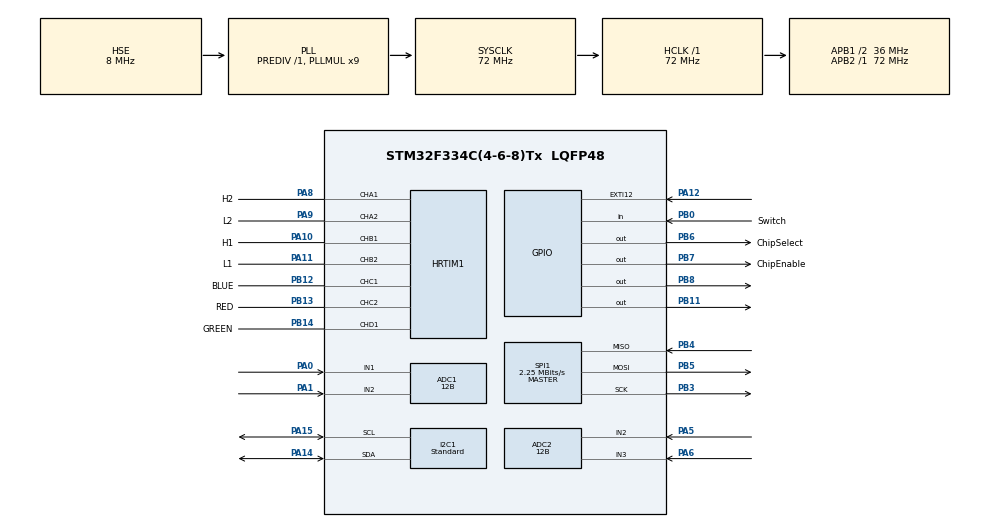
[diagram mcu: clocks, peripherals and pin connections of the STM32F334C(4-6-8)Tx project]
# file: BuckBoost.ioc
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ADC1.Channel-3\#ChannelRegularConversion=ADC_CHANNEL_1
ADC1.Channel-4\#ChannelRegularConversion=ADC_CHANNEL_2
ADC1.ClockPrescaler=ADC_CLOCK_SYNC_PCLK_DIV4
ADC1.DMAContinuousRequests=ENABLE
ADC1.EOCSelection=ADC_EOC_SEQ_CONV
ADC1.EnableInjectedConversion=DISABLE
ADC1.EnableRegularConversion=ENABLE
ADC1.ExternalTrigConv=ADC_EXTERNALTRIGCONVHRTIM_TRG1
ADC1.ExternalTrigConvEdge=ADC_EXTERNALTRIGCONVEDGE_RISING
ADC1.Mode=ADC_DUALMODE_REGSIMULT
ADC1.NbrOfConversion=2
ADC1.NbrOfConversionFlag=1
ADC1.Offset-3\#ChannelRegularConversion=0
ADC1.Offset-4\#ChannelRegularConversion=0
ADC1.OffsetNumber-3\#ChannelRegularConversion=ADC_OFFSET_NONE
ADC1.OffsetNumber-4\#ChannelRegularConversion=ADC_OFFSET_NONE
ADC1.Rank-3\#ChannelRegularConversion=1
ADC1.Rank-4\#ChannelRegularConversion=2
ADC1.Resolution=ADC_RESOLUTION_12B
ADC1.SamplingTime-3\#ChannelRegularConversion=ADC_SAMPLETIME_601CYCLES_5
ADC1.SamplingTime-4\#ChannelRegularConversion=ADC_SAMPLETIME_601CYCLES_5
ADC1.SubFamily=STM32F334x8
ADC1.TwoSamplingDelay=ADC_TWOSAMPLINGDELAY_1CYCLE
ADC1.master=1
ADC2.Channel-6\#ChannelRegularConversion=ADC_CHANNEL_2
ADC2.Channel-7\#ChannelRegularConversion=ADC_CHANNEL_3
ADC2.ClockPrescaler=ADC_CLOCK_SYNC_PCLK_DIV4
ADC2.EOCSelection=ADC_EOC_SEQ_CONV
ADC2.EnableInjectedConversion=DISABLE
ADC2.EnableRegularConversion=ENABLE
ADC2.Mode=ADC_DUALMODE_REGSIMULT
ADC2.NbrOfConversion=2
ADC2.NbrOfConversionFlag=1
ADC2.Offset-6\#ChannelRegularConversion=0
ADC2.Offset-7\#ChannelRegularConversion=0
ADC2.OffsetNumber-6\#ChannelRegularConversion=ADC_OFFSET_NONE
ADC2.OffsetNumber-7\#ChannelRegularConversion=ADC_OFFSET_NONE
ADC2.Rank-6\#ChannelRegularConversion=1
ADC2.Rank-7\#ChannelRegularConversion=2
ADC2.Resolution=ADC_RESOLUTION_12B
ADC2.SamplingTime-6\#ChannelRegularConversion=ADC_SAMPLETIME_601CYCLES_5
ADC2.SamplingTime-7\#ChannelRegularConversion=ADC_SAMPLETIME_601CYCLES_5
ADC2.SubFamily=STM32F334x8
Dma.ADC1.0.Direction=DMA_PERIPH_TO_MEMORY
Dma.ADC1.0.Instance=DMA1_Channel1
Dma.ADC1.0.MemDataAlignment=DMA_MDATAALIGN_WORD
Dma.ADC1.0.MemInc=DMA_MINC_ENABLE
Dma.ADC1.0.Mode=DMA_CIRCULAR
Dma.ADC1.0.PeriphDataAlignment=DMA_PDATAALIGN_WORD
Dma.ADC1.0.PeriphInc=DMA_PINC_DISABLE
Dma.ADC1.0.Priority=DMA_PRIORITY_LOW
Dma.Request0=ADC1
HRTIM1.ADCTrigger1_Source1=HRTIM_ADCTRIGGEREVENT13_TIMERD_CMP2
HRTIM1.ADCTrigger_Id1=HRTIM_ADCTRIGGER_1
HRTIM1.BurstDMAconfig-Output_TA1TA2=__NULL
HRTIM1.CompareUnit1-Output_TA1TA2=HRTIM_COMPAREUNIT_1
HRTIM1.CompareUnit1-Output_TB1TB2=HRTIM_COMPAREUNIT_1
HRTIM1.CompareUnit1-Output_TC1TC2=HRTIM_COMPAREUNIT_1
HRTIM1.CompareUnit1-Output_TD1=HRTIM_COMPAREUNIT_1
HRTIM1.CompareUnit2-Output_TA1TA2=__NULL
HRTIM1.CompareUnit2-Output_TB1TB2=__NULL
HRTIM1.CompareUnit2-Output_TC1TC2=HRTIM_COMPAREUNIT_2
HRTIM1.CompareUnit2-Output_TD1=HRTIM_COMPAREUNIT_2
HRTIM1.CompareValue1-Output_TA1TA2=6825
HRTIM1.CompareValue1-Output_TB1TB2=1000
HRTIM1.CompareValue1-Output_TC1TC2=10000
HRTIM1.CompareValue1-Output_TD1=15000
HRTIM1.CompareValue2-Output_TC1TC2=5000
HRTIM1.CompareValue2-Output_TD1=3
HRTIM1.Configuration_TA=Waveform
HRTIM1.DeadTimeInsertion-Output_TA1TA2=HRTIM_TIMDEADTIMEINSERTION_ENABLED
HRTIM1.DeadTimeInsertion-Output_TB1TB2=HRTIM_TIMDEADTIMEINSERTION_ENABLED
HRTIM1.FallingSign-Output_TA1TA2=HRTIM_TIMDEADTIME_FALLINGSIGN_POSITIVE
HRTIM1.FallingValue-Output_TA1TA2=200
HRTIM1.FallingValue-Output_TB1TB2=200
HRTIM1.NumberADCTriggerSource1=1
HRTIM1.NumberResetSource1-Output_TA1TA2=1
HRTIM1.NumberResetSource1-Output_TB1TB2=1
HRTIM1.NumberResetSource1-Output_TC1TC2=1
HRTIM1.NumberResetSource1-Output_TD1=1
HRTIM1.NumberResetSource2_TC=1
HRTIM1.NumberSetSource1-Output_TA1TA2=1
HRTIM1.NumberSetSource1-Output_TB1TB2=1
HRTIM1.NumberSetSource1-Output_TC1TC2=1
HRTIM1.NumberSetSource1-Output_TD1=1
HRTIM1.NumberSetSource2_TC=1
HRTIM1.Periode_TA=15360
HRTIM1.Periode_TB=15360
HRTIM1.Periode_TC=36000
HRTIM1.Periode_TD=36000
HRTIM1.Polarity1-Output_TA1TA2=HRTIM_OUTPUTPOLARITY_HIGH
HRTIM1.Polarity2-Output_TA1TA2=HRTIM_OUTPUTPOLARITY_HIGH
HRTIM1.PrescalerRatio_TC=HRTIM_PRESCALERRATIO_DIV4
HRTIM1.PrescalerRatio_TD=HRTIM_PRESCALERRATIO_DIV4
HRTIM1.ResetOutput1_Source1-Output_TA1TA2=HRTIM_OUTPUTRESET_TIMPER
HRTIM1.ResetOutput1_Source1-Output_TB1TB2=HRTIM_OUTPUTRESET_TIMCMP1
HRTIM1.ResetOutput1_Source1-Output_TC1TC2=HRTIM_OUTPUTRESET_TIMCMP1
HRTIM1.ResetOutput1_Source1-Output_TD1=HRTIM_OUTPUTRESET_TIMCMP1
HRTIM1.ResetOutput2_Source1-Output_TC1TC2=HRTIM_OUTPUTRESET_TIMCMP2
HRTIM1.RisingSign-Output_TA1TA2=HRTIM_TIMDEADTIME_RISINGSIGN_POSITIVE
HRTIM1.RisingValue-Output_TA1TA2=200
HRTIM1.RisingValue-Output_TB1TB2=200
HRTIM1.SetOutput1_Source1-Output_TA1TA2=HRTIM_OUTPUTSET_TIMCMP1
HRTIM1.SetOutput1_Source1-Output_TB1TB2=HRTIM_OUTPUTSET_TIMPER
HRTIM1.SetOutput1_Source1-Output_TC1TC2=HRTIM_OUTPUTSET_TIMPER
HRTIM1.SetOutput1_Source1-Output_TD1=HRTIM_OUTPUTSET_TIMPER
HRTIM1.SetOutput2_Source1-Output_TC1TC2=HRTIM_OUTPUTSET_TIMPER
I2C1.Analog_Filter=I2C_ANALOGFILTER_ENABLE
I2C1.DualAddressMode=I2C_DUALADDRESS_DISABLE
I2C1.I2C_Coeff_DF=15
I2C1.I2C_Fall_Time=1
I2C1.I2C_Rise_Time=1
I2C1.I2C_Speed_Mode=I2C_Standard
I2C1.Speed=100
I2C1.Timing=0x00200E1D
IWDG.Prescaler=IWDG_PRESCALER_256
IWDG.Reload=150
IWDG.Window=0
Mcu.Family=STM32F3
Mcu.Name=STM32F334C(4-6-8)Tx
Mcu.Package=LQFP48
NVIC.DMA1_Channel1_IRQn=true\:2\:0\:true\:false\:true\:false\:true\:true
NVIC.EXTI15_10_IRQn=true\:6\:0\:true\:false\:true\:true\:true\:true
NVIC.PriorityGroup=NVIC_PRIORITYGROUP_4
PA0.Mode=IN1-Single-Ended
PA0.Signal=ADC1_IN1
PA1.Mode=IN2-Single-Ended
PA1.Signal=ADC1_IN2
PA10.GPIO_Label=H1
PA10.Mode=Output_TB1TB2
PA10.Signal=HRTIM1_CHB1
PA11.GPIO_Label=L1
PA11.Mode=Output_TB1TB2
PA11.Signal=HRTIM1_CHB2
PA12.Signal=GPXTI12
PA14.Mode=I2C
PA14.Signal=I2C1_SDA
PA15.Mode=I2C
PA15.Signal=I2C1_SCL
PA5.Mode=IN2-Single-Ended
PA5.Signal=ADC2_IN2
PA6.Mode=IN3-Single-Ended
PA6.Signal=ADC2_IN3
PA8.GPIO_Label=H2
PA8.Mode=Output_TA1TA2
PA8.Signal=HRTIM1_CHA1
PA9.GPIO_Label=L2
PA9.Mode=Output_TA1TA2
PA9.Signal=HRTIM1_CHA2
PB0.GPIO_Label=Switch
PB0.Signal=GPIO_Input
PB11.Signal=GPIO_Output
PB12.GPIO_Label=BLUE
PB12.Mode=Output_TC1TC2
PB12.Signal=HRTIM1_CHC1
PB13.GPIO_Label=RED
PB13.Mode=Output_TC1TC2
PB13.Signal=HRTIM1_CHC2
PB14.GPIO_Label=GREEN
PB14.Mode=Output_TD1
PB14.Signal=HRTIM1_CHD1
PB3.Mode=Full_Duplex_Master
PB3.Signal=SPI1_SCK
PB4.Mode=Full_Duplex_Master
PB4.Signal=SPI1_MISO
PB5.Mode=Full_Duplex_Master
PB5.Signal=SPI1_MOSI
PB6.GPIO_Label=ChipSelect
PB6.Signal=GPIO_Output
PB7.GPIO_Label=ChipEnable
PB7.Signal=GPIO_Output
PB8.Signal=GPIO_Output
PF0\ /\ OSC_IN.Mode=HSE-External-Oscillator
PF0\ /\ OSC_IN.Signal=RCC_OSC_IN
PF1\ /\ OSC_OUT.Mode=HSE-External-Oscillator
PF1\ /\ OSC_OUT.Signal=RCC_OSC_OUT
ProjectManager.HeapSize=0x200
ProjectManager.StackSize=0x400
ProjectManager.TargetToolchain=MDK-ARM V5
RCC.AHBFreq_Value=72000000
RCC.APB1CLKDivider=RCC_HCLK_DIV2
RCC.APB1Freq_Value=36000000
RCC.APB1TimFreq_Value=72000000
RCC.APB2Freq_Value=72000000
RCC.APB2TimFreq_Value=72000000
RCC.CortexFreq_Value=72000000
RCC.EnbaleCSS=true
RCC.HCLKFreq_Value=72000000
RCC.HRTIMSelection=RCC_HRTIM1CLK_PLLCLK
RCC.HSE_VALUE=8000000
RCC.HSI_VALUE=8000000
RCC.LSE_VALUE=32768
RCC.PLLMUL=RCC_PLL_MUL9
RCC.PLLSourceVirtual=RCC_PLLSOURCE_HSE
RCC.SYSCLKFreq_VALUE=72000000
RCC.SYSCLKSourceVirtual=RCC_SYSCLKSOURCE_PLLCLK
SPI1.BaudRatePrescaler=SPI_BAUDRATEPRESCALER_32
SPI1.CalculateBaudRate=2.25 MBits/s
SPI1.DataSize=SPI_DATASIZE_8BIT
SPI1.Direction=SPI_DIRECTION_2LINES
SPI1.Mode=SPI_MODE_MASTER
SPI1.VirtualType=VM_MASTER
VP_IWDG_VS_IWDG.Mode=IWDG_Activate
board=custom

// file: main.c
/* USER CODE BEGIN Header */
/**
 ******************************************************************************
 * @file           : main.c
 * @brief          : Main program body
 ******************************************************************************
 * @attention
 *
 * <h2><center>&copy; Copyright (c) 2020 STMicroelectronics.
 * All rights reserved.</center></h2>
 *
 * This software component is licensed by ST under BSD 3-Clause license,
 * the "License"; You may not use this file except in compliance with the
 * License. You may obtain a copy of the License at:
 *                        opensource.org/licenses/BSD-3-Clause
 *
 ******************************************************************************
 */
/* USER CODE END Header */
#include "main.h"

/* USER CODE BEGIN Includes */
#include <stdio.h>
#include <string.h>

#include "MY_NRF24.h"
#include "ssd1306.h"
#include "test.h"

/* USER CODE END Includes */

ADC_HandleTypeDef hadc1;
ADC_HandleTypeDef hadc2;
DMA_HandleTypeDef hdma_adc1;

HRTIM_HandleTypeDef hhrtim1;

I2C_HandleTypeDef hi2c1;

IWDG_HandleTypeDef hiwdg;

SPI_HandleTypeDef hspi1;

/* USER CODE BEGIN PV */
void converterFail(void);
void idle(void);
void startCharging(void);
void startDischarging(void);

volatile float FILTEREDVOUT;
volatile float balancerVOUT;
volatile float FILTEREDVIN;
volatile float FILTEREDCURRENT;
volatile float balancerCURRENT;

volatile float maxCurrent = 0.1;
volatile float maxVoltage = 16.8;
volatile float maxTemperature = 105;
volatile float maxVin = 32.0;
volatile float minVin = 19.0;
volatile float maxVout = 18.0;
volatile float currentTemperature = 0;

volatile uint16_t adc_value[16] = {0};

volatile float powerMeasurement = 0;
volatile long long timeCounter = 0;
volatile int statusMeasurement = 0;
int stuckCounter = 0;

uint64_t TxpipeAddrs = 0xFFFFFFFF01;
char myTxData[32] = "0xFFFFFFFF01";

HAL_StatusTypeDef result;
volatile int i2cMessageCounter = -1;
volatile int i2cFailedMessageCounter = 0;
volatile int displayResetCounter = 0;

volatile int setCharge = 30;
volatile int chargerNumber = 1;
volatile uint32_t setAlarmMessage = 0;
volatile uint32_t setFaultMessage = 0;

uint8_t i2cBufferSend[14] = {0, 6, 8, 9, 10, 13, 14, 16, 17, 22, 24, 26, 20, 21};
uint8_t i2cBufferStart[3] = {42, 1, 0};
uint8_t i2cBufferStop[3] = {42, 0, 0};
uint8_t i2cBufferReceive[56] = {0};

volatile uint8_t check;
volatile uint8_t data[10];
volatile uint8_t data1[10] = {0, 1, 2, 3, 4, 5, 6, 7, 8, 9};
volatile long temp = 0;
char displayString[50] = "";
volatile int statusMessage = 0;

volatile int controlState = CHARGE;

/* USER CODE END PV */

void SystemClock_Config(void);
static void MX_GPIO_Init(void);
static void MX_DMA_Init(void);
static void MX_ADC1_Init(void);
static void MX_ADC2_Init(void);
static void MX_HRTIM1_Init(void);
static void MX_I2C1_Init(void);
static void MX_SPI1_Init(void);
static void MX_IWDG_Init(void);
/* USER CODE BEGIN PFP */
/* Direct printf to output somewhere */
/* USER CODE END PFP */

int main(void) {

    /* MCU Configuration--------------------------------------------------------*/

    /* Reset of all peripherals, Initializes the Flash interface and the Systick. */
    HAL_Init();

    /* Configure the system clock */
    SystemClock_Config();

    /* Initialize all configured peripherals */
    MX_GPIO_Init();
    MX_DMA_Init();
    MX_ADC1_Init();
    MX_ADC2_Init();
    MX_HRTIM1_Init();
    MX_I2C1_Init();
    MX_SPI1_Init();
    MX_IWDG_Init();
    /* USER CODE BEGIN 2 */
    // H1 off, L1 on
    SMALLBATTERY = REALMAXDUTY;

    // H2 off, L2 on
    BIGBATTERY = 0;

    // L1 L2 on
    HAL_HRTIM_WaveformOutputStart(&hhrtim1, L2 | L1);

    // Start-Up Delay
    HAL_Delay(10);

    // initialize OLED screen
    SSD1306_Init();  // initialize the diaply

    // activate CURRENT OFFSET
    HAL_GPIO_WritePin(GPIOB, GPIO_PIN_11, GPIO_PIN_SET);

    // start dual simultaneous ADC sampling
    HAL_ADC_Start(&hadc2);
    HAL_ADCEx_MultiModeStart_DMA(&hadc1, (uint32_t *)adc_value, 8);

    // initialize all LED
    HAL_HRTIM_WaveformOutputStart(&hhrtim1, HRTIM_OUTPUT_TC1 | HRTIM_OUTPUT_TC2 | HRTIM_OUTPUT_TD1);
    HAL_HRTIM_WaveformCountStart(
        &hhrtim1, HRTIM_TIMERID_TIMER_A | HRTIM_TIMERID_TIMER_B | HRTIM_TIMERID_TIMER_C | HRTIM_TIMERID_TIMER_D);

    // NRF24_begin(GPIOB, ChipSelect_Pin, ChipEnable_Pin, hspi1);
    // nrf24_DebugUART_Init(huart2);

    // NRF24_stopListening();
    // NRF24_openWritingPipe(TxpipeAddrs);
    // NRF24_setAutoAck(true);
    // NRF24_setChannel(125);
    // NRF24_setPayloadSize(32);

    // Start-Up Delay
    // HAL_Delay(10);

    /* USER CODE END 2 */

    /* Infinite loop */
    /* USER CODE BEGIN WHILE */
    while (1) {
        // reset WTD
        HAL_IWDG_Refresh(&hiwdg);

        // change setCharge depending on Switch state
        (HAL_GPIO_ReadPin(GPIOB, GPIO_PIN_0)) ? (setCharge = 30) : (setCharge = 99);

        /*if (RFMessageDelayCounter > 500) {
            sprintf(myTxData, "%2d %5.2f %5.2f %5.2f %3d", chargerNumber, FILTEREDVIN, FILTEREDVOUT, FILTEREDCURRENT,
        CURRENTCHARGE); if (!NRF24_write(myTxData, 32)) { statusMessage = 1;  //RF
            }
            RFMessageDelayCounter = 0;
            displayResetCounter++;
        }*/

        if (displayResetCounter > 10000) {
            // Reset Display
            SSD1306_Init();
            displayResetCounter = 0;
        }

        i2cMessageCounter >= 13 ? i2cMessageCounter = 0 : i2cMessageCounter++;

        while (HAL_I2C_GetState(&hi2c1) != HAL_I2C_STATE_READY) {
        }
        if (HAL_I2C_Master_Transmit(&hi2c1, BATTERY_ADDRESS, i2cBufferSend + i2cMessageCounter, 1, 100) != HAL_OK) {
            // reset I2C BUS
            I2C1->CR1 |= I2C_CR1_SWRST;
            statusMessage = 2;  // TX
            i2cMessageCounter = -1;
            i2cFailedMessageCounter++;
        } else {
            // Read 2 bytes
            while (HAL_I2C_GetState(&hi2c1) != HAL_I2C_STATE_READY) {
            }
            if (HAL_I2C_Master_Receive(&hi2c1, BATTERY_ADDRESS, i2cBufferReceive + i2cMessageCounter * 2, 2, 100) !=
                HAL_OK) {
                // reset I2C BUS
                I2C1->CR1 |= I2C_CR1_SWRST;
                statusMessage = 3;  // RX
                i2cMessageCounter = -1;
                i2cFailedMessageCounter++;
            } else {
                // detect offSet Failure
                if (controlState == IDLE && FILTEREDCURRENT < -1.5)
                    while (1) converterFail();

                if (setCharge == 99) {
                    if (CURRENTCHARGE < setCharge && currentTemperature < SETTEMPERATURE && setAlarmMessage < 32768) {
                        startCharging();
                    } else {
                        idle();
                    }
                } else if (setCharge == 30) {
                    if (currentTemperature < SETTEMPERATURE && CURRENTCHARGE > setCharge) {
                        startDischarging();
                    } else if (setAlarmMessage < 32768 && currentTemperature < SETTEMPERATURE &&
                               CURRENTCHARGE < setCharge) {
                        startCharging();
                    } else {
                        idle();
                    }
                }

                // overtemperature protection
                if (i2cMessageCounter == 2) {
                    currentTemperature =
                        ((i2cBufferReceive[5] * 256 + i2cBufferReceive[4]) / 10.0 - 273.15) * 9 / 5 + 32;
                    if (currentTemperature > maxTemperature) {
                        statusMessage = 8;  // overtemperature
                        converterFail();
                        setFaultMessage |= 1 << 4;
                    } else {
                        setFaultMessage &= ~(1 << 4);
                    }
                }

                // checks battery remaining life >70%, compares relative and absolute charge states
                if (i2cMessageCounter == 6) {
                    if (CURRENTCHARGE >= 10 && (CURRENTCHARGE * 7 >= i2cBufferReceive[12] * 10)) {
                        statusMessage = 4;  // 70% less charge
                        converterFail();
                        setFaultMessage |= 1 << 3;
                    } else {
                        setFaultMessage &= ~(1 << 3);
                    }
                }

                if (i2cMessageCounter == 9) {
                    setAlarmMessage = i2cBufferReceive[19] * 256 + i2cBufferReceive[18];
                }

                if (i2cMessageCounter == 12) {
                    if ((i2cBufferReceive[25] * 256 + i2cBufferReceive[24]) / 1000.0 != 0) {
                        if ((i2cBufferReceive[25] * 256 + i2cBufferReceive[24]) / 1111.0 < 1.2 &&
                            (i2cBufferReceive[25] * 256 + i2cBufferReceive[24]) / 1111.0 > 0.5) {
                            maxCurrent = (i2cBufferReceive[25] * 256 + i2cBufferReceive[24]) / 1111.0;
                        } else if ((i2cBufferReceive[25] * 256 + i2cBufferReceive[24]) / 1111.0 >= 1.2) {
                            maxCurrent = 1.2;
                        } else {
                            maxCurrent = 0.1;
                        }
                    }
                }

                if (i2cMessageCounter == 13) {
                    if ((i2cBufferReceive[27] * 256 + i2cBufferReceive[26]) / 1000.0 != 0)
                        maxVoltage = (i2cBufferReceive[27] * 256 + i2cBufferReceive[26]) / 1000.0;
                }
                // self calibration Process
                if (i2cMessageCounter > 0 && controlState != IDLE) {
                    if (FILTEREDVOUT > (i2cBufferReceive[7] * 256 + i2cBufferReceive[6]) / 1000.0) {
                        balancerVOUT -= 0.01f;
                    } else {
                        balancerVOUT += 0.01f;
                    }
                    if (i2cBufferReceive[9] * 256 + i2cBufferReceive[8] > 32000) {
                        // discharging
                        if (FILTEREDCURRENT > (i2cBufferReceive[9] * 256.0 + i2cBufferReceive[8] - 65536.0) / 1000.0) {
                            balancerCURRENT -= 0.001f;
                        } else {
                            balancerCURRENT += 0.001f;
                        }
                    } else {
                        // charging
                        if (FILTEREDCURRENT > (i2cBufferReceive[9] * 256.0 + i2cBufferReceive[8]) / 1000.0) {
                            balancerCURRENT -= 0.001f;
                        } else {
                            balancerCURRENT += 0.001f;
                        }
                    }
                }
                i2cFailedMessageCounter = 0;
            }
        }

        if (controlState == FAILED && setFaultMessage == 0) idle();

        // if 5 consecutive battery communication fails reset controller to IDLE state
        if (i2cFailedMessageCounter > 5) {
            if (controlState != IDLE) idle();
            BLUE = LEDOFF;
            RED = LEDOFF;
            GREEN = LEDOFF;
            CURRENTCHARGE = 0;
            setAlarmMessage = 0;
            stuckCounter = 0;
        }
        // calculate current temperature
        SSD1306_GotoXY(0, 0);
        // sprintf(displayString, "%4d %4d %4d %4d", i2cBufferReceive[0], i2cBufferReceive[1], i2cBufferReceive[2],
        // i2cBufferReceive[3]);
        sprintf(displayString, "I:%5.2f %4.2f %5.0f", FILTEREDCURRENT, maxCurrent, timeCounter / 500.0);
        SSD1306_Puts(displayString, &Font_7x10, SSD1306_COLOR_WHITE);
        SSD1306_GotoXY(0, 9);
        // sprintf(displayString, "%4d %4d %4d %4d", i2cBufferReceive[4], i2cBufferReceive[5], i2cBufferReceive[6],
        // i2cBufferReceive[7]);
        sprintf(displayString, "Vi:%4.1f %4d %5d", FILTEREDVIN, statusMessage, i2cBufferReceive[12]);
        SSD1306_Puts(displayString, &Font_7x10, SSD1306_COLOR_WHITE);
        SSD1306_GotoXY(0, 18);
        // sprintf(displayString, "%4d %4d %4d %4d", i2cBufferReceive[8], i2cBufferReceive[9], i2cBufferReceive[10],
        // i2cBufferReceive[11]);
        sprintf(displayString, "Vo:%4.1f %4.1f %5d", FILTEREDVOUT, maxVoltage, setAlarmMessage);
        SSD1306_Puts(displayString, &Font_7x10, SSD1306_COLOR_WHITE);
        SSD1306_GotoXY(0, 27);
        // sprintf(displayString, "%4d %4d %4d %4d", i2cBufferReceive[12], i2cBufferReceive[13], i2cBufferReceive[14],
        // i2cBufferReceive[15]);
        sprintf(displayString, "T:%5.0f %4.1fW%2d", currentTemperature, powerMeasurement / 1800000.0f, statusMessage);
        SSD1306_Puts(displayString, &Font_7x10, SSD1306_COLOR_WHITE);
        SSD1306_GotoXY(0, 37);
        sprintf(displayString, "%3d %3d", CURRENTCHARGE, setCharge);
        SSD1306_Puts(displayString, &Font_16x26, SSD1306_COLOR_WHITE);
        SSD1306_UpdateScreen();
        /* USER CODE END WHILE */

    }
}

void SystemClock_Config(void) {
    RCC_OscInitTypeDef RCC_OscInitStruct = {0};
    RCC_ClkInitTypeDef RCC_ClkInitStruct = {0};
    RCC_PeriphCLKInitTypeDef PeriphClkInit = {0};

    /** Initializes the RCC Oscillators according to the specified parameters
     * in the RCC_OscInitTypeDef structure.
     */
    RCC_OscInitStruct.OscillatorType = RCC_OSCILLATORTYPE_HSI | RCC_OSCILLATORTYPE_LSI | RCC_OSCILLATORTYPE_HSE;
    RCC_OscInitStruct.HSEState = RCC_HSE_ON;
    RCC_OscInitStruct.HSEPredivValue = RCC_HSE_PREDIV_DIV1;
    RCC_OscInitStruct.HSIState = RCC_HSI_ON;
    RCC_OscInitStruct.HSICalibrationValue = RCC_HSICALIBRATION_DEFAULT;
    RCC_OscInitStruct.LSIState = RCC_LSI_ON;
    RCC_OscInitStruct.PLL.PLLState = RCC_PLL_ON;
    RCC_OscInitStruct.PLL.PLLSource = RCC_PLLSOURCE_HSE;
    RCC_OscInitStruct.PLL.PLLMUL = RCC_PLL_MUL9;
    if (HAL_RCC_OscConfig(&RCC_OscInitStruct) != HAL_OK) {
        Error_Handler();
    }
    /** Initializes the CPU, AHB and APB buses clocks
     */
    RCC_ClkInitStruct.ClockType = RCC_CLOCKTYPE_HCLK | RCC_CLOCKTYPE_SYSCLK | RCC_CLOCKTYPE_PCLK1 | RCC_CLOCKTYPE_PCLK2;
    RCC_ClkInitStruct.SYSCLKSource = RCC_SYSCLKSOURCE_PLLCLK;
    RCC_ClkInitStruct.AHBCLKDivider = RCC_SYSCLK_DIV1;
    RCC_ClkInitStruct.APB1CLKDivider = RCC_HCLK_DIV2;
    RCC_ClkInitStruct.APB2CLKDivider = RCC_HCLK_DIV1;

    if (HAL_RCC_ClockConfig(&RCC_ClkInitStruct, FLASH_LATENCY_2) != HAL_OK) {
        Error_Handler();
    }
    PeriphClkInit.PeriphClockSelection = RCC_PERIPHCLK_HRTIM1 | RCC_PERIPHCLK_I2C1;
    PeriphClkInit.I2c1ClockSelection = RCC_I2C1CLKSOURCE_HSI;
    PeriphClkInit.Hrtim1ClockSelection = RCC_HRTIM1CLK_PLLCLK;
    if (HAL_RCCEx_PeriphCLKConfig(&PeriphClkInit) != HAL_OK) {
        Error_Handler();
    }
    /** Enables the Clock Security System
     */
    HAL_RCC_EnableCSS();
}

static void MX_ADC1_Init(void) {

    ADC_MultiModeTypeDef multimode = {0};
    ADC_ChannelConfTypeDef sConfig = {0};

    /** Common config
     */
    hadc1.Instance = ADC1;
    hadc1.Init.ClockPrescaler = ADC_CLOCK_SYNC_PCLK_DIV4;
    hadc1.Init.Resolution = ADC_RESOLUTION_12B;
    hadc1.Init.ScanConvMode = ADC_SCAN_ENABLE;
    hadc1.Init.ContinuousConvMode = DISABLE;
    hadc1.Init.DiscontinuousConvMode = DISABLE;
    hadc1.Init.ExternalTrigConvEdge = ADC_EXTERNALTRIGCONVEDGE_RISING;
    hadc1.Init.ExternalTrigConv = ADC_EXTERNALTRIGCONVHRTIM_TRG1;
    hadc1.Init.DataAlign = ADC_DATAALIGN_RIGHT;
    hadc1.Init.NbrOfConversion = 2;
    hadc1.Init.DMAContinuousRequests = ENABLE;
    hadc1.Init.EOCSelection = ADC_EOC_SEQ_CONV;
    hadc1.Init.LowPowerAutoWait = DISABLE;
    hadc1.Init.Overrun = ADC_OVR_DATA_OVERWRITTEN;
    if (HAL_ADC_Init(&hadc1) != HAL_OK) {
        Error_Handler();
    }
    /** Configure the ADC multi-mode
     */
    multimode.Mode = ADC_DUALMODE_REGSIMULT;
    multimode.DMAAccessMode = ADC_DMAACCESSMODE_12_10_BITS;
    multimode.TwoSamplingDelay = ADC_TWOSAMPLINGDELAY_1CYCLE;
    if (HAL_ADCEx_MultiModeConfigChannel(&hadc1, &multimode) != HAL_OK) {
        Error_Handler();
    }
    /** Configure Regular Channel
     */
    sConfig.Channel = ADC_CHANNEL_1;
    sConfig.Rank = ADC_REGULAR_RANK_1;
    sConfig.SingleDiff = ADC_SINGLE_ENDED;
    sConfig.SamplingTime = ADC_SAMPLETIME_601CYCLES_5;
    sConfig.OffsetNumber = ADC_OFFSET_NONE;
    sConfig.Offset = 0;
    if (HAL_ADC_ConfigChannel(&hadc1, &sConfig) != HAL_OK) {
        Error_Handler();
    }
    /** Configure Regular Channel
     */
    sConfig.Channel = ADC_CHANNEL_2;
    sConfig.Rank = ADC_REGULAR_RANK_2;
    if (HAL_ADC_ConfigChannel(&hadc1, &sConfig) != HAL_OK) {
        Error_Handler();
    }
}

static void MX_ADC2_Init(void) {

    ADC_ChannelConfTypeDef sConfig = {0};

    /** Common config
     */
    hadc2.Instance = ADC2;
    hadc2.Init.ClockPrescaler = ADC_CLOCK_SYNC_PCLK_DIV4;
    hadc2.Init.Resolution = ADC_RESOLUTION_12B;
    hadc2.Init.ScanConvMode = ADC_SCAN_ENABLE;
    hadc2.Init.ContinuousConvMode = DISABLE;
    hadc2.Init.DiscontinuousConvMode = DISABLE;
    hadc2.Init.DataAlign = ADC_DATAALIGN_RIGHT;
    hadc2.Init.NbrOfConversion = 2;
    hadc2.Init.DMAContinuousRequests = DISABLE;
    hadc2.Init.EOCSelection = ADC_EOC_SEQ_CONV;
    hadc2.Init.LowPowerAutoWait = DISABLE;
    hadc2.Init.Overrun = ADC_OVR_DATA_OVERWRITTEN;
    if (HAL_ADC_Init(&hadc2) != HAL_OK) {
        Error_Handler();
    }
    /** Configure Regular Channel
     */
    sConfig.Channel = ADC_CHANNEL_2;
    sConfig.Rank = ADC_REGULAR_RANK_1;
    sConfig.SingleDiff = ADC_SINGLE_ENDED;
    sConfig.SamplingTime = ADC_SAMPLETIME_601CYCLES_5;
    sConfig.OffsetNumber = ADC_OFFSET_NONE;
    sConfig.Offset = 0;
    if (HAL_ADC_ConfigChannel(&hadc2, &sConfig) != HAL_OK) {
        Error_Handler();
    }
    /** Configure Regular Channel
     */
    sConfig.Channel = ADC_CHANNEL_3;
    sConfig.Rank = ADC_REGULAR_RANK_2;
    if (HAL_ADC_ConfigChannel(&hadc2, &sConfig) != HAL_OK) {
        Error_Handler();
    }
}

static void MX_HRTIM1_Init(void) {

    HRTIM_ADCTriggerCfgTypeDef pADCTriggerCfg = {0};
    HRTIM_TimeBaseCfgTypeDef pTimeBaseCfg = {0};
    HRTIM_TimerCfgTypeDef pTimerCfg = {0};
    HRTIM_CompareCfgTypeDef pCompareCfg = {0};
    HRTIM_DeadTimeCfgTypeDef pDeadTimeCfg = {0};
    HRTIM_OutputCfgTypeDef pOutputCfg = {0};

    hhrtim1.Instance = HRTIM1;
    hhrtim1.Init.HRTIMInterruptResquests = HRTIM_IT_NONE;
    hhrtim1.Init.SyncOptions = HRTIM_SYNCOPTION_NONE;
    if (HAL_HRTIM_Init(&hhrtim1) != HAL_OK) {
        Error_Handler();
    }
    if (HAL_HRTIM_DLLCalibrationStart(&hhrtim1, HRTIM_CALIBRATIONRATE_14) != HAL_OK) {
        Error_Handler();
    }
    if (HAL_HRTIM_PollForDLLCalibration(&hhrtim1, 10) != HAL_OK) {
        Error_Handler();
    }
    pADCTriggerCfg.UpdateSource = HRTIM_ADCTRIGGERUPDATE_TIMER_A;
    pADCTriggerCfg.Trigger = HRTIM_ADCTRIGGEREVENT13_TIMERD_CMP2;
    if (HAL_HRTIM_ADCTriggerConfig(&hhrtim1, HRTIM_ADCTRIGGER_1, &pADCTriggerCfg) != HAL_OK) {
        Error_Handler();
    }
    pTimeBaseCfg.Period = 15360;
    pTimeBaseCfg.RepetitionCounter = 0x00;
    pTimeBaseCfg.PrescalerRatio = HRTIM_PRESCALERRATIO_MUL32;
    pTimeBaseCfg.Mode = HRTIM_MODE_CONTINUOUS;
    if (HAL_HRTIM_TimeBaseConfig(&hhrtim1, HRTIM_TIMERINDEX_TIMER_A, &pTimeBaseCfg) != HAL_OK) {
        Error_Handler();
    }
    pTimerCfg.InterruptRequests = HRTIM_TIM_IT_NONE;
    pTimerCfg.DMARequests = HRTIM_TIM_DMA_NONE;
    pTimerCfg.DMASrcAddress = 0x0000;
    pTimerCfg.DMADstAddress = 0x0000;
    pTimerCfg.DMASize = 0x1;
    pTimerCfg.HalfModeEnable = HRTIM_HALFMODE_DISABLED;
    pTimerCfg.StartOnSync = HRTIM_SYNCSTART_DISABLED;
    pTimerCfg.ResetOnSync = HRTIM_SYNCRESET_DISABLED;
    pTimerCfg.DACSynchro = HRTIM_DACSYNC_NONE;
    pTimerCfg.PreloadEnable = HRTIM_PRELOAD_DISABLED;
    pTimerCfg.UpdateGating = HRTIM_UPDATEGATING_INDEPENDENT;
    pTimerCfg.BurstMode = HRTIM_TIMERBURSTMODE_MAINTAINCLOCK;
    pTimerCfg.RepetitionUpdate = HRTIM_UPDATEONREPETITION_DISABLED;
    pTimerCfg.PushPull = HRTIM_TIMPUSHPULLMODE_DISABLED;
    pTimerCfg.FaultEnable = HRTIM_TIMFAULTENABLE_NONE;
    pTimerCfg.FaultLock = HRTIM_TIMFAULTLOCK_READWRITE;
    pTimerCfg.DeadTimeInsertion = HRTIM_TIMDEADTIMEINSERTION_ENABLED;
    pTimerCfg.DelayedProtectionMode = HRTIM_TIMER_A_B_C_DELAYEDPROTECTION_DISABLED;
    pTimerCfg.UpdateTrigger = HRTIM_TIMUPDATETRIGGER_NONE;
    pTimerCfg.ResetTrigger = HRTIM_TIMRESETTRIGGER_NONE;
    pTimerCfg.ResetUpdate = HRTIM_TIMUPDATEONRESET_DISABLED;
    if (HAL_HRTIM_WaveformTimerConfig(&hhrtim1, HRTIM_TIMERINDEX_TIMER_A, &pTimerCfg) != HAL_OK) {
        Error_Handler();
    }
    pTimerCfg.DMASrcAddress = 0x0000;
    pTimerCfg.DMADstAddress = 0x0000;
    pTimerCfg.DMASize = 0x1;
    if (HAL_HRTIM_WaveformTimerConfig(&hhrtim1, HRTIM_TIMERINDEX_TIMER_B, &pTimerCfg) != HAL_OK) {
        Error_Handler();
    }
    pTimerCfg.DMASrcAddress = 0x0000;
    pTimerCfg.DMADstAddress = 0x0000;
    pTimerCfg.DMASize = 0x1;
    pTimerCfg.DeadTimeInsertion = HRTIM_TIMDEADTIMEINSERTION_DISABLED;
    if (HAL_HRTIM_WaveformTimerConfig(&hhrtim1, HRTIM_TIMERINDEX_TIMER_C, &pTimerCfg) != HAL_OK) {
        Error_Handler();
    }
    pTimerCfg.DMASrcAddress = 0x0000;
    pTimerCfg.DMADstAddress = 0x0000;
    pTimerCfg.DMASize = 0x1;
    pTimerCfg.DelayedProtectionMode = HRTIM_TIMER_D_E_DELAYEDPROTECTION_DISABLED;
    if (HAL_HRTIM_WaveformTimerConfig(&hhrtim1, HRTIM_TIMERINDEX_TIMER_D, &pTimerCfg) != HAL_OK) {
        Error_Handler();
    }
    pCompareCfg.CompareValue = 6825;
    if (HAL_HRTIM_WaveformCompareConfig(&hhrtim1, HRTIM_TIMERINDEX_TIMER_A, HRTIM_COMPAREUNIT_1, &pCompareCfg) !=
        HAL_OK) {
        Error_Handler();
    }
    pCompareCfg.CompareValue = 5000;
    pCompareCfg.AutoDelayedMode = HRTIM_AUTODELAYEDMODE_REGULAR;
    pCompareCfg.AutoDelayedTimeout = 0x0000;

    if (HAL_HRTIM_WaveformCompareConfig(&hhrtim1, HRTIM_TIMERINDEX_TIMER_C, HRTIM_COMPAREUNIT_2, &pCompareCfg) !=
        HAL_OK) {
        Error_Handler();
    }
    pCompareCfg.CompareValue = 3;
    pCompareCfg.AutoDelayedTimeout = 0x0000;

    if (HAL_HRTIM_WaveformCompareConfig(&hhrtim1, HRTIM_TIMERINDEX_TIMER_D, HRTIM_COMPAREUNIT_2, &pCompareCfg) !=
        HAL_OK) {
        Error_Handler();
    }
    pDeadTimeCfg.Prescaler = HRTIM_TIMDEADTIME_PRESCALERRATIO_MUL8;
    pDeadTimeCfg.RisingValue = 200;
    pDeadTimeCfg.RisingSign = HRTIM_TIMDEADTIME_RISINGSIGN_POSITIVE;
    pDeadTimeCfg.RisingLock = HRTIM_TIMDEADTIME_RISINGLOCK_WRITE;
    pDeadTimeCfg.RisingSignLock = HRTIM_TIMDEADTIME_RISINGSIGNLOCK_WRITE;
    pDeadTimeCfg.FallingValue = 200;
    pDeadTimeCfg.FallingSign = HRTIM_TIMDEADTIME_FALLINGSIGN_POSITIVE;
    pDeadTimeCfg.FallingLock = HRTIM_TIMDEADTIME_FALLINGLOCK_WRITE;
    pDeadTimeCfg.FallingSignLock = HRTIM_TIMDEADTIME_FALLINGSIGNLOCK_WRITE;
    if (HAL_HRTIM_DeadTimeConfig(&hhrtim1, HRTIM_TIMERINDEX_TIMER_A, &pDeadTimeCfg) != HAL_OK) {
        Error_Handler();
    }
    if (HAL_HRTIM_DeadTimeConfig(&hhrtim1, HRTIM_TIMERINDEX_TIMER_B, &pDeadTimeCfg) != HAL_OK) {
        Error_Handler();
    }
    pOutputCfg.Polarity = HRTIM_OUTPUTPOLARITY_HIGH;
    pOutputCfg.SetSource = HRTIM_OUTPUTSET_TIMCMP1;
    pOutputCfg.ResetSource = HRTIM_OUTPUTRESET_TIMPER;
    pOutputCfg.IdleMode = HRTIM_OUTPUTIDLEMODE_NONE;
    pOutputCfg.IdleLevel = HRTIM_OUTPUTIDLELEVEL_INACTIVE;
    pOutputCfg.FaultLevel = HRTIM_OUTPUTFAULTLEVEL_NONE;
    pOutputCfg.ChopperModeEnable = HRTIM_OUTPUTCHOPPERMODE_DISABLED;
    pOutputCfg.BurstModeEntryDelayed = HRTIM_OUTPUTBURSTMODEENTRY_REGULAR;
    if (HAL_HRTIM_WaveformOutputConfig(&hhrtim1, HRTIM_TIMERINDEX_TIMER_A, HRTIM_OUTPUT_TA1, &pOutputCfg) != HAL_OK) {
        Error_Handler();
    }
    pOutputCfg.SetSource = HRTIM_OUTPUTSET_TIMPER;
    pOutputCfg.ResetSource = HRTIM_OUTPUTRESET_TIMCMP1;
    if (HAL_HRTIM_WaveformOutputConfig(&hhrtim1, HRTIM_TIMERINDEX_TIMER_B, HRTIM_OUTPUT_TB1, &pOutputCfg) != HAL_OK) {
        Error_Handler();
    }
    if (HAL_HRTIM_WaveformOutputConfig(&hhrtim1, HRTIM_TIMERINDEX_TIMER_C, HRTIM_OUTPUT_TC1, &pOutputCfg) != HAL_OK) {
        Error_Handler();
    }
    if (HAL_HRTIM_WaveformOutputConfig(&hhrtim1, HRTIM_TIMERINDEX_TIMER_D, HRTIM_OUTPUT_TD1, &pOutputCfg) != HAL_OK) {
        Error_Handler();
    }
    pOutputCfg.SetSource = HRTIM_OUTPUTSET_NONE;
    pOutputCfg.ResetSource = HRTIM_OUTPUTRESET_NONE;
    if (HAL_HRTIM_WaveformOutputConfig(&hhrtim1, HRTIM_TIMERINDEX_TIMER_A, HRTIM_OUTPUT_TA2, &pOutputCfg) != HAL_OK) {
        Error_Handler();
    }
    if (HAL_HRTIM_WaveformOutputConfig(&hhrtim1, HRTIM_TIMERINDEX_TIMER_B, HRTIM_OUTPUT_TB2, &pOutputCfg) != HAL_OK) {
        Error_Handler();
    }
    pOutputCfg.SetSource = HRTIM_OUTPUTSET_TIMPER;
    pOutputCfg.ResetSource = HRTIM_OUTPUTRESET_TIMCMP2;
    if (HAL_HRTIM_WaveformOutputConfig(&hhrtim1, HRTIM_TIMERINDEX_TIMER_C, HRTIM_OUTPUT_TC2, &pOutputCfg) != HAL_OK) {
        Error_Handler();
    }
    if (HAL_HRTIM_TimeBaseConfig(&hhrtim1, HRTIM_TIMERINDEX_TIMER_B, &pTimeBaseCfg) != HAL_OK) {
        Error_Handler();
    }
    pCompareCfg.CompareValue = 1000;
    if (HAL_HRTIM_WaveformCompareConfig(&hhrtim1, HRTIM_TIMERINDEX_TIMER_B, HRTIM_COMPAREUNIT_1, &pCompareCfg) !=
        HAL_OK) {
        Error_Handler();
    }
    pTimeBaseCfg.Period = 36000;
    pTimeBaseCfg.PrescalerRatio = HRTIM_PRESCALERRATIO_DIV4;
    if (HAL_HRTIM_TimeBaseConfig(&hhrtim1, HRTIM_TIMERINDEX_TIMER_C, &pTimeBaseCfg) != HAL_OK) {
        Error_Handler();
    }
    pCompareCfg.CompareValue = 10000;
    if (HAL_HRTIM_WaveformCompareConfig(&hhrtim1, HRTIM_TIMERINDEX_TIMER_C, HRTIM_COMPAREUNIT_1, &pCompareCfg) !=
        HAL_OK) {
        Error_Handler();
    }
    if (HAL_HRTIM_TimeBaseConfig(&hhrtim1, HRTIM_TIMERINDEX_TIMER_D, &pTimeBaseCfg) != HAL_OK) {
        Error_Handler();
    }
    pCompareCfg.CompareValue = 15000;
    if (HAL_HRTIM_WaveformCompareConfig(&hhrtim1, HRTIM_TIMERINDEX_TIMER_D, HRTIM_COMPAREUNIT_1, &pCompareCfg) !=
        HAL_OK) {
        Error_Handler();
    }
    HAL_HRTIM_MspPostInit(&hhrtim1);
}

static void MX_I2C1_Init(void) {

    hi2c1.Instance = I2C1;
    hi2c1.Init.Timing = 0x00200E1D;
    hi2c1.Init.OwnAddress1 = 0;
    hi2c1.Init.AddressingMode = I2C_ADDRESSINGMODE_7BIT;
    hi2c1.Init.DualAddressMode = I2C_DUALADDRESS_DISABLE;
    hi2c1.Init.OwnAddress2 = 0;
    hi2c1.Init.OwnAddress2Masks = I2C_OA2_NOMASK;
    hi2c1.Init.GeneralCallMode = I2C_GENERALCALL_DISABLE;
    hi2c1.Init.NoStretchMode = I2C_NOSTRETCH_DISABLE;
    if (HAL_I2C_Init(&hi2c1) != HAL_OK) {
        Error_Handler();
    }
    /** Configure Analogue filter
     */
    if (HAL_I2CEx_ConfigAnalogFilter(&hi2c1, I2C_ANALOGFILTER_ENABLE) != HAL_OK) {
        Error_Handler();
    }
    /** Configure Digital filter
     */
    if (HAL_I2CEx_ConfigDigitalFilter(&hi2c1, 15) != HAL_OK) {
        Error_Handler();
    }
}

static void MX_IWDG_Init(void) {

    hiwdg.Instance = IWDG;
    hiwdg.Init.Prescaler = IWDG_PRESCALER_256;
    hiwdg.Init.Window = 0;
    hiwdg.Init.Reload = 150;
    if (HAL_IWDG_Init(&hiwdg) != HAL_OK) {
        Error_Handler();
    }
}

static void MX_SPI1_Init(void) {

    /* SPI1 parameter configuration*/
    hspi1.Instance = SPI1;
    hspi1.Init.Mode = SPI_MODE_MASTER;
    hspi1.Init.Direction = SPI_DIRECTION_2LINES;
    hspi1.Init.DataSize = SPI_DATASIZE_8BIT;
    hspi1.Init.CLKPolarity = SPI_POLARITY_LOW;
    hspi1.Init.CLKPhase = SPI_PHASE_1EDGE;
    hspi1.Init.NSS = SPI_NSS_SOFT;
    hspi1.Init.BaudRatePrescaler = SPI_BAUDRATEPRESCALER_32;
    hspi1.Init.FirstBit = SPI_FIRSTBIT_MSB;
    hspi1.Init.TIMode = SPI_TIMODE_DISABLE;
    hspi1.Init.CRCCalculation = SPI_CRCCALCULATION_DISABLE;
    hspi1.Init.CRCPolynomial = 7;
    hspi1.Init.CRCLength = SPI_CRC_LENGTH_DATASIZE;
    hspi1.Init.NSSPMode = SPI_NSS_PULSE_ENABLE;
    if (HAL_SPI_Init(&hspi1) != HAL_OK) {
        Error_Handler();
    }
}

static void MX_DMA_Init(void) {
    /* DMA controller clock enable */
    __HAL_RCC_DMA1_CLK_ENABLE();

    /* DMA interrupt init */
    /* DMA1_Channel1_IRQn interrupt configuration */
    HAL_NVIC_SetPriority(DMA1_Channel1_IRQn, 2, 0);
    HAL_NVIC_EnableIRQ(DMA1_Channel1_IRQn);
}

static void MX_GPIO_Init(void) {
    GPIO_InitTypeDef GPIO_InitStruct = {0};

    /* GPIO Ports Clock Enable */
    __HAL_RCC_GPIOF_CLK_ENABLE();
    __HAL_RCC_GPIOA_CLK_ENABLE();
    __HAL_RCC_GPIOB_CLK_ENABLE();

    /*Configure GPIO pin Output Level */
    HAL_GPIO_WritePin(GPIOB, GPIO_PIN_11 | ChipSelect_Pin | ChipEnable_Pin | GPIO_PIN_8, GPIO_PIN_RESET);

    /*Configure GPIO pin : Switch_Pin */
    GPIO_InitStruct.Pin = Switch_Pin;
    GPIO_InitStruct.Mode = GPIO_MODE_INPUT;
    GPIO_InitStruct.Pull = GPIO_NOPULL;
    HAL_GPIO_Init(Switch_GPIO_Port, &GPIO_InitStruct);

    /*Configure GPIO pins : PB11 ChipSelect_Pin ChipEnable_Pin PB8 */
    GPIO_InitStruct.Pin = GPIO_PIN_11 | ChipSelect_Pin | ChipEnable_Pin | GPIO_PIN_8;
    GPIO_InitStruct.Mode = GPIO_MODE_OUTPUT_PP;
    GPIO_InitStruct.Pull = GPIO_NOPULL;
    GPIO_InitStruct.Speed = GPIO_SPEED_FREQ_LOW;
    HAL_GPIO_Init(GPIOB, &GPIO_InitStruct);

    /*Configure GPIO pin : PA12 */
    GPIO_InitStruct.Pin = GPIO_PIN_12;
    GPIO_InitStruct.Mode = GPIO_MODE_IT_RISING;
    GPIO_InitStruct.Pull = GPIO_NOPULL;
    HAL_GPIO_Init(GPIOA, &GPIO_InitStruct);

    /* EXTI interrupt init*/
    HAL_NVIC_SetPriority(EXTI15_10_IRQn, 6, 0);
    HAL_NVIC_EnableIRQ(EXTI15_10_IRQn);
}

/* USER CODE BEGIN 4 */
void startDischarging() {
    if (stuckCounter > 50) {
        BLUE = LEDOFF;
        RED = LEDON;
        GREEN = LEDOFF;
    } else {
        // turn on all LED
        BLUE = 0;
        RED = 0;
        GREEN = 0;
    }

    // send start charging command to battery
    if (setAlarmMessage == 0 || setAlarmMessage > 16384) {
        while (HAL_I2C_GetState(&hi2c1) != HAL_I2C_STATE_READY) {
        }
        if (HAL_I2C_Master_Transmit(&hi2c1, BATTERY_ADDRESS, i2cBufferStart, 3, 25) != HAL_OK) {
            statusMessage = 5;  // START
        }
        stuckCounter++;
        return;
    }

    stuckCounter = 0;

    if (controlState == DISCHARGE) return;
    controlState = DISCHARGE;

    // buck-boost transaction added coil discharge cycle 12/1/2020

    // All Mosfets OFF
    HAL_HRTIM_WaveformOutputStop(&hhrtim1, H1 | H2 | L1 | L2);

    // H1 off, L1 on
    SMALLBATTERY = REALMAXDUTY;

    // H2 off, L2 on
    BIGBATTERY = 0;

    // turn off top 2 mosfet and turn on bottom 2 mosfet to discharge inductor, if you don't discharge it there will be
    // voltage spike and mosfet will be damaged
    HAL_HRTIM_WaveformOutputStop(&hhrtim1, H1 | H2);
    HAL_HRTIM_WaveformOutputStart(&hhrtim1, L1 | L2);

    for (int i = 0; i < 100000; i++)
        ;  // delay

    // reset calibration coefficent
    balancerCURRENT = 0;
    balancerVOUT = 0;

    // start power measurement
    timeCounter = 0;
    powerMeasurement = 0;
    statusMeasurement = SET;

    // All Mosfets OFF
    HAL_HRTIM_WaveformOutputStop(&hhrtim1, H1 | H2 | L1 | L2);

    // initial duty cycle set for discharge MAXDUTY means low start
    SMALLBATTERY = MAXDUTY;

    // H2 on, L2 off
    BIGBATTERY = REALMAXDUTY;

    // only turn off H1
    HAL_HRTIM_WaveformOutputStart(&hhrtim1, H2 | L1 | L2);
    HAL_HRTIM_WaveformOutputStop(&hhrtim1, H1);

    // initialize OLED screen
    SSD1306_Init();  // initialize the diaply
}
void startCharging() {
    if (setCharge == 99 && CURRENTCHARGE >= 98) {
        // turn on green LED
        BLUE = LEDOFF;
        RED = LEDOFF;
        GREEN = LEDON;
    } else if (stuckCounter > 50) {
        BLUE = LEDOFF;
        RED = LEDON;
        GREEN = LEDOFF;
    } else {
        // turn on blue LED
        BLUE = LEDON;
        RED = LEDOFF;
        GREEN = LEDOFF;
    }

    if (setAlarmMessage == 0 || setAlarmMessage > 16384) {
        while (HAL_I2C_GetState(&hi2c1) != HAL_I2C_STATE_READY) {
        }
        if (HAL_I2C_Master_Transmit(&hi2c1, BATTERY_ADDRESS, i2cBufferStart, 3, 25) != HAL_OK) {
            statusMessage = 6;  // STOP
        }
        stuckCounter++;
        return;
    }

    stuckCounter = 0;

    if (controlState == CHARGE) return;
    controlState = CHARGE;

    // reset calibration coefficent
    balancerCURRENT = 0;
    balancerVOUT = 0;

    // start power measurement
    powerMeasurement = 0;
    timeCounter = 0;
    statusMeasurement = SET;

    // All Mosfets OFF
    HAL_HRTIM_WaveformOutputStop(&hhrtim1, H1 | H2 | L1 | L2);

    // initial duty cycle set
    SMALLBATTERY = MINDUTY;

    // H2 on, L2 off
    BIGBATTERY = REALMAXDUTY;

    // only turn off H2
    HAL_HRTIM_WaveformOutputStart(&hhrtim1, H1 | L1 | L2);
    HAL_HRTIM_WaveformOutputStop(&hhrtim1, H2);

    // initialize OLED screen
    SSD1306_Init();  // initialize the diaply
}
void idle(void) {
    // turn on GREEN LED if target charge achieved, if not turn off all LED
    if (setCharge == 99 && CURRENTCHARGE >= 98) {
        BLUE = LEDOFF;
        RED = LEDOFF;
        GREEN = LEDON;
    } else if (setCharge == 30 && CURRENTCHARGE == 30 && setAlarmMessage > 16384) {
        BLUE = LEDOFF;
        RED = LEDOFF;
        GREEN = LEDON;
    } else {
        BLUE = LEDOFF;
        RED = LEDOFF;
        GREEN = LEDOFF;
    }

    if (setCharge == 30 && CURRENTCHARGE == 30 && setAlarmMessage < 16384) {
        while (HAL_I2C_GetState(&hi2c1) != HAL_I2C_STATE_READY) {
        }
        if (HAL_I2C_Master_Transmit(&hi2c1, BATTERY_ADDRESS, i2cBufferStop, 3, 25) != HAL_OK) {
            statusMessage = 6;  // STOP
        }
    }

    if (controlState == IDLE) return;
    controlState = IDLE;

    setAlarmMessage = 0;
    currentTemperature = 0;
    // stop power measurement
    statusMeasurement = RESET;

    // All Mosfets OFF
    HAL_HRTIM_WaveformOutputStop(&hhrtim1, H1 | H2 | L1 | L2);

    // initial duty cycle set
    SMALLBATTERY = MINDUTY;
    // H2 on, L2 off
    BIGBATTERY = REALMAXDUTY;

    // only turn off H2
    HAL_HRTIM_WaveformOutputStart(&hhrtim1, H1 | L1 | L2);
    HAL_HRTIM_WaveformOutputStop(&hhrtim1, H2);

    // reset charge current
    maxCurrent = 0.1;

    // initialize OLED screen
    // SSD1306_Init (); // initialize the diaply
}

void converterFail(void) {
    controlState = FAILED;

    // All Mosfets OFF
    HAL_HRTIM_WaveformOutputStop(&hhrtim1, H1 | H2 | L1 | L2);

    // H1 off, L1 on
    SMALLBATTERY = REALMAXDUTY;

    // H2 off, L2 on
    BIGBATTERY = 0;

    // turn off top 2 mosfet and turn on bottom 2 mosfet to discharge inductor, if you don't discharge it there will be
    // voltage spike and mosfet will be damaged
    HAL_HRTIM_WaveformOutputStop(&hhrtim1, H1 | H2);
    HAL_HRTIM_WaveformOutputStart(&hhrtim1, L1 | L2);

    // turn on RED LED
    BLUE = LEDOFF;
    RED = LEDON;
    GREEN = LEDOFF;
    for (int i = 0; i < 10000; i++)
        ;
}
void HAL_I2C_MasterTxCpltCallback(I2C_HandleTypeDef *hi2c) {
    /*if (hi2c->Instance==hi2c1.Instance)
    {
        HAL_DMA_Abort_IT(hi2c->hdmatx);
    }*/
}

void HAL_I2C_MasterRxCpltCallback(I2C_HandleTypeDef *hi2c) {
    /*if (hi2c->Instance==hi2c1.Instance)
    {
        HAL_DMA_Abort_IT(hi2c->hdmarx);
    }*/
}
/* USER CODE END 4 */

void Error_Handler(void) {
}

/************************ (C) COPYRIGHT STMicroelectronics *****END OF FILE****/
